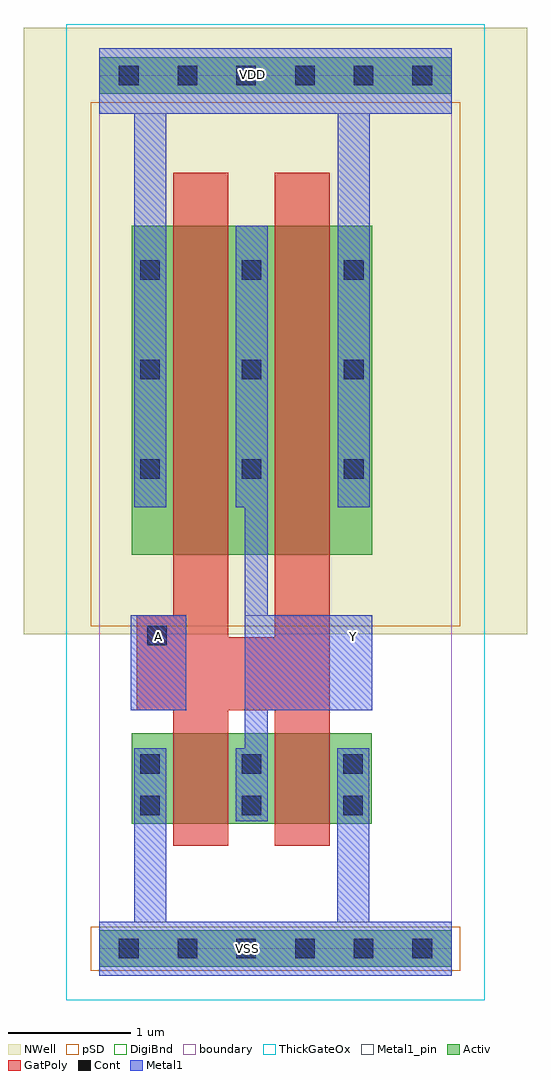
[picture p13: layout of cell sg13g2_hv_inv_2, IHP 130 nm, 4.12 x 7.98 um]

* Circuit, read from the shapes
.subckt sg13g2_hv_inv_2 A VDD VSS Y
XM1 Y A VSS VSS sg13_hv_nmos w=0.74u l=0.45u m=2
XM2 Y A VDD VDD sg13_hv_pmos w=2.69u l=0.45u m=2
.ends

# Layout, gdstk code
import gdstk
lib = gdstk.Library(unit=1e-6, precision=1e-09)
def R(c, l, rs):  # rectangles x0, y0, x1, y1
    for r in rs: c.add(gdstk.rectangle(r[:2], r[2:], *l))
def A(c, l, x, y, w, h, nx, ny, dx, dy):  # array of equal rectangles
    R(c, l, [(x+i*dx, y+j*dy, x+i*dx+w, y+j*dy+h) for i in range(nx) for j in range(ny)])
def P(c, l, *ps):  # polygons
    for p in ps: c.add(gdstk.Polygon(p, *l))
Activ = (1, 0)
GatPoly = (5, 0)
Cont = (6, 0)
Metal1 = (8, 0)
Metal1_pin = (8, 2)
pSD = (14, 0)
DigiBnd = (16, 0)
NWell = (31, 0)
ThickGateOx = (44, 0)
boundary = (189, 4)

sg13g2_hv_inv_2 = lib.new_cell('sg13g2_hv_inv_2')
R(sg13g2_hv_inv_2, Activ, [(0,-0.15,2.88,0.15), (0.265,1.02,2.225,1.76), (0.265,3.22,2.23,5.91), (0,6.99,2.88,7.29)])
P(sg13g2_hv_inv_2, GatPoly, [(0.605,0.84),(0.605,1.95),(0.305,1.95),(0.305,2.725),(0.605,2.725),(0.605,6.345),(1.055,6.345),(1.055,2.545),(1.435,2.545),(1.435,6.345),(1.885,6.345),(1.885,0.84),(1.435,0.84),(1.435,1.95),(1.055,1.95),(1.055,0.84)])
A(sg13g2_hv_inv_2, Cont, 0.16, -0.08, 0.16, 0.16, 6, 2, 0.48, 7.14)
A(sg13g2_hv_inv_2, Cont, 0.335, 1.09, 0.16, 0.16, 3, 2, 0.83, 0.34)
A(sg13g2_hv_inv_2, Cont, 0.335, 3.84, 0.16, 0.16, 1, 3, 0, 0.815)
A(sg13g2_hv_inv_2, Cont, 1.165, 3.84, 0.16, 0.16, 1, 3, 0, 0.815)
A(sg13g2_hv_inv_2, Cont, 2, 3.84, 0.16, 0.16, 1, 3, 0, 0.815)
R(sg13g2_hv_inv_2, Cont, [(0.39,2.48,0.55,2.64)])
R(sg13g2_hv_inv_2, Metal1, [(0.255,1.95,0.71,2.725)])
P(sg13g2_hv_inv_2, Metal1, [(0.285,3.61),(0.285,6.825),(0,6.825),(0,7.36),(2.88,7.36),(2.88,6.825),(2.21,6.825),(2.21,3.61),(1.95,3.61),(1.95,6.825),(0.545,6.825),(0.545,3.61)],
  [(0,-0.22),(0,0.22),(0.285,0.22),(0.285,1.64),(0.545,1.64),(0.545,0.22),(1.945,0.22),(1.945,1.64),(2.205,1.64),(2.205,0.22),(2.88,0.22),(2.88,-0.22)],
  [(1.115,1.04),(1.115,1.64),(1.19,1.64),(1.19,3.61),(1.115,3.61),(1.115,5.91),(1.375,5.91),(1.375,2.725),(2.23,2.725),(2.23,1.95),(1.375,1.95),(1.375,1.04)])
R(sg13g2_hv_inv_2, Metal1_pin, [(0,-0.22,2.88,0.22), (0.255,1.95,0.71,2.725), (1.19,1.95,2.23,2.725), (0,6.825,2.88,7.36)])
R(sg13g2_hv_inv_2, pSD, [(-0.07,-0.18,2.95,0.18), (-0.07,2.635,2.95,6.92)])
R(sg13g2_hv_inv_2, DigiBnd, [(0,0,2.88,7.14)])
R(sg13g2_hv_inv_2, NWell, [(-0.62,2.57,3.5,7.53)])
R(sg13g2_hv_inv_2, ThickGateOx, [(-0.27,-0.42,3.15,7.56)])
R(sg13g2_hv_inv_2, boundary, [(0,0,2.88,7.14)])
sg13g2_hv_inv_2.add(gdstk.Label('VSS', (1.21,0), layer=8, texttype=25))
sg13g2_hv_inv_2.add(gdstk.Label('VDD', (1.255,7.145), layer=8, texttype=25))
sg13g2_hv_inv_2.add(gdstk.Label('Y', (2.08,2.555), layer=8, texttype=25))
sg13g2_hv_inv_2.add(gdstk.Label('A', (0.48,2.555), layer=8, texttype=25))

lib.write_gds('sg13g2_hv_inv_2.gds')
